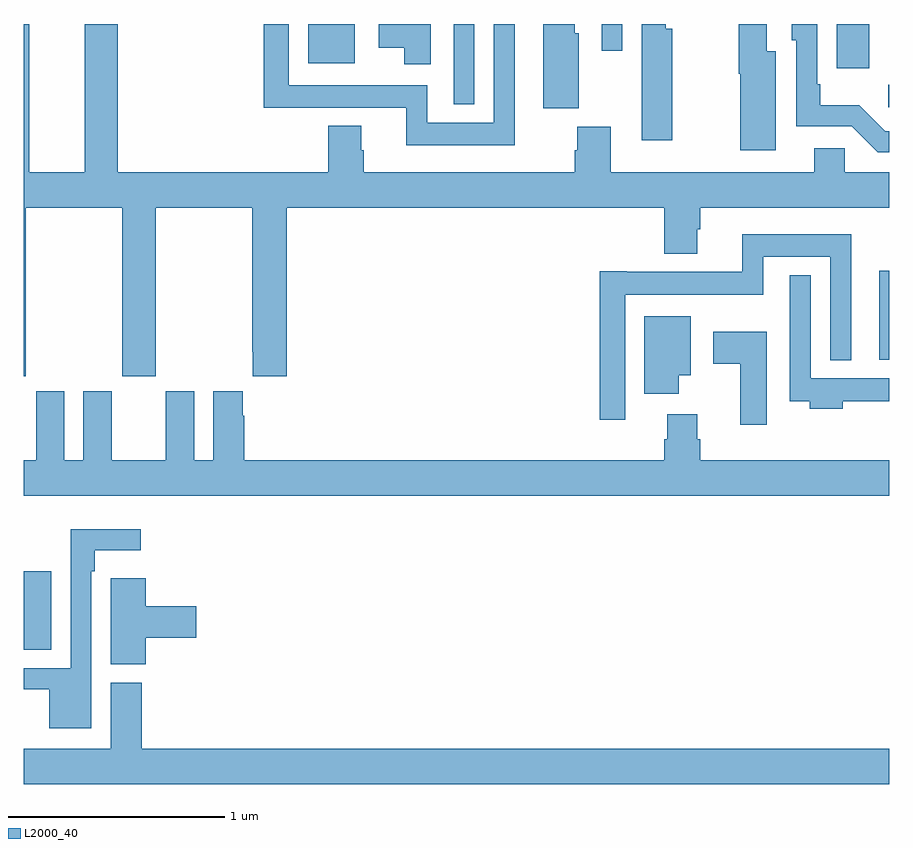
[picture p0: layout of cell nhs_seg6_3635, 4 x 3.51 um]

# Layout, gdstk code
import gdstk
lib = gdstk.Library(unit=1e-6, precision=1e-09)
def R(c, l, rs):  # rectangles x0, y0, x1, y1
    for r in rs: c.add(gdstk.rectangle(r[:2], r[2:], *l))
def P(c, l, *ps):  # polygons
    for p in ps: c.add(gdstk.Polygon(p, *l))
L2000_40 = (2000, 40)

nhs_seg6_3635 = lib.new_cell('nhs_seg6_3635')
R(nhs_seg6_3635, L2000_40, [(323,962.608,323.128,962.971), (326.954,963.948,327,964.359), (326.995,965.115,327,965.22), (324.987,965.129,325.083,965.5), (326.756,965.295,326.908,965.5), (324.314,965.318,324.529,965.5), (325.671,965.376,325.767,965.5)])
P(nhs_seg6_3635, L2000_40, [(323.01,964.652),(323.455,964.652),(323.455,963.873),(323.61,963.873),(323.61,964.652),(324.055,964.652),(324.055,963.985),(324.059,963.985),(324.059,963.873),(324.215,963.873),(324.215,964.652),(325.961,964.652),(325.961,964.439),(326.113,964.439),(326.113,964.551),(326.126,964.551),(326.126,964.652),(327,964.652),(327,964.816),(326.793,964.816),(326.793,964.926),(326.654,964.926),(326.654,964.816),(325.712,964.816),(325.712,965.025),(325.559,965.025),(325.559,964.916),(325.547,964.916),(325.547,964.816),(324.572,964.816),(324.572,964.917),(324.559,964.917),(324.559,965.029),(324.407,965.029),(324.407,964.816),(323.435,964.816),(323.435,965.5),(323.282,965.5),(323.282,964.816),(323.026,964.816),(323.026,965.5),(323,965.5),(323,963.873),(323.01,963.873)],
  [(326.476,965.374),(326.434,965.374),(326.434,965.5),(326.305,965.5),(326.305,965.27),(326.312,965.27),(326.312,964.917),(326.476,964.917)],
  [(324.88,965.5),(324.641,965.5),(324.641,965.39),(324.758,965.39),(324.758,965.313),(324.88,965.313)],
  [(325.27,965.5),(325.173,965.5),(325.173,965.044),(324.864,965.044),(324.864,965.218),(324.225,965.218),(324.225,965.5),(324.109,965.5),(324.109,965.112),(324.232,965.112),(324.232,965.114),(324.767,965.114),(324.767,964.94),(325.27,964.94)],
  [(325.564,965.457),(325.546,965.457),(325.546,965.5),(325.4,965.5),(325.4,965.11),(325.564,965.11)],
  [(325.998,965.479),(325.966,965.479),(325.966,965.5),(325.857,965.5),(325.857,965.375),(325.856,965.375),(325.856,964.962),(325.998,964.962)],
  [(327,965.004),(326.982,965.004),(326.861,965.125),(326.68,965.125),(326.68,965.221),(326.667,965.221),(326.667,965.5),(326.55,965.5),(326.55,965.424),(326.571,965.424),(326.571,965.028),(326.826,965.028),(326.946,964.908),(327,964.908)],
  [(325.779,964.25),(326.418,964.25),(326.418,964.424),(326.727,964.424),(326.727,963.947),(326.824,963.947),(326.824,964.528),(326.321,964.528),(326.321,964.354),(325.786,964.354),(325.786,964.357),(325.663,964.357),(325.663,963.672),(325.779,963.672)],
  [(326.786,963.756),(327,963.756),(327,963.862),(326.637,963.862),(326.637,964.339),(326.541,964.339),(326.541,963.756),(326.633,963.756),(326.633,963.722),(326.786,963.722)],
  [(326.026,963.878),(326.083,963.878),(326.083,964.15),(325.868,964.15),(325.868,963.792),(326.026,963.792)],
  [(326.434,964.078),(326.187,964.078),(326.187,963.931),(326.312,963.931),(326.312,963.648),(326.434,963.648)],
  [(327,963.484),(326.126,963.484),(326.126,963.582),(326.113,963.582),(326.113,963.697),(325.973,963.697),(325.973,963.582),(325.961,963.582),(325.961,963.484),(324.02,963.484),(324.02,963.689),(324.013,963.689),(324.013,963.802),(323.876,963.802),(323.876,963.484),(323.788,963.484),(323.788,963.802),(323.657,963.802),(323.657,963.484),(323.407,963.484),(323.407,963.802),(323.276,963.802),(323.276,963.484),(323.188,963.484),(323.188,963.802),(323.057,963.802),(323.057,963.484),(323,963.484),(323,963.32),(327,963.32)],
  [(323.313,962.972),(323.329,962.972),(323.329,963.068),(323.542,963.068),(323.542,963.166),(323.217,963.166),(323.217,962.523),(323,962.523),(323,962.427),(323.117,962.427),(323.117,962.246),(323.313,962.246)],
  [(323.564,962.663),(323.797,962.663),(323.797,962.81),(323.564,962.81),(323.564,962.938),(323.403,962.938),(323.403,962.825),(323.402,962.825),(323.402,962.542),(323.564,962.542)],
  [(327,962.152),(323.546,962.152),(323.546,962.457),(323.402,962.457),(323.402,962.152),(323,962.152),(323,961.988),(327,961.988)])

lib.write_gds('nhs_seg6_3635.gds')
